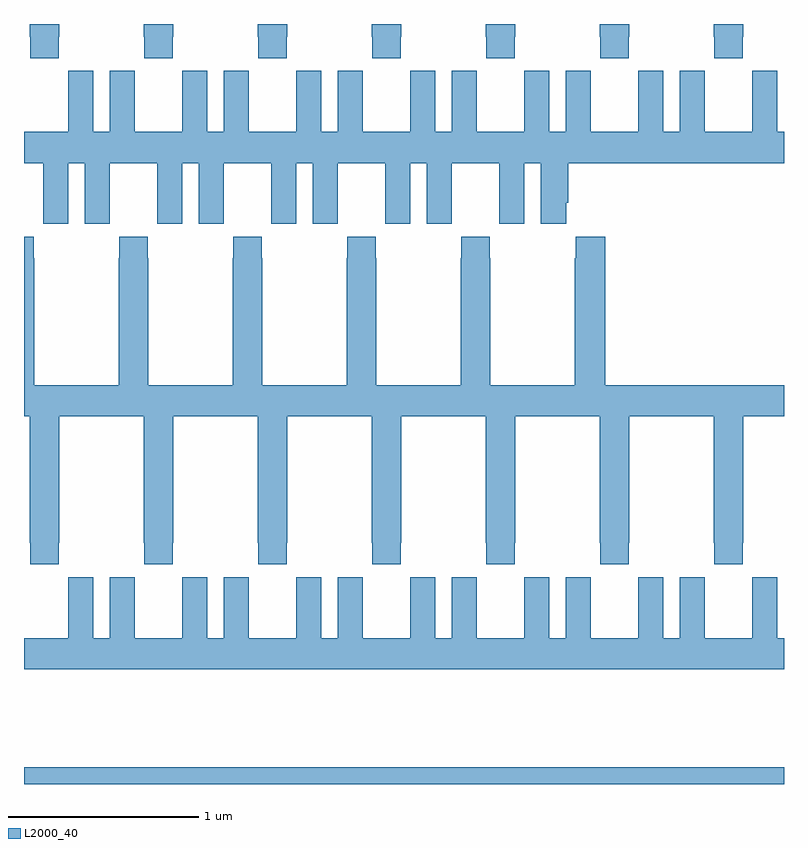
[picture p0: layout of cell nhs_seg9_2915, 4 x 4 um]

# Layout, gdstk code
import gdstk
lib = gdstk.Library(unit=1e-6, precision=1e-09)
def R(c, l, rs):  # rectangles x0, y0, x1, y1
    for r in rs: c.add(gdstk.rectangle(r[:2], r[2:], *l))
def P(c, l, *ps):  # polygons
    for p in ps: c.add(gdstk.Polygon(p, *l))
L2000_40 = (2000, 40)

nhs_seg9_2915 = lib.new_cell('nhs_seg9_2915')
R(nhs_seg9_2915, L2000_40, [(279,1178.5,283,1178.588)])
P(nhs_seg9_2915, L2000_40, [(279.183,1182.433),(279.186,1182.433),(279.186,1182.5),(279.031,1182.5),(279.031,1182.433),(279.033,1182.433),(279.033,1182.321),(279.183,1182.321)],
  [(279.783,1182.433),(279.786,1182.433),(279.786,1182.5),(279.631,1182.5),(279.631,1182.433),(279.633,1182.433),(279.633,1182.321),(279.783,1182.321)],
  [(280.383,1182.433),(280.386,1182.433),(280.386,1182.5),(280.231,1182.5),(280.231,1182.433),(280.233,1182.433),(280.233,1182.321),(280.383,1182.321)],
  [(280.983,1182.433),(280.986,1182.433),(280.986,1182.5),(280.831,1182.5),(280.831,1182.433),(280.833,1182.433),(280.833,1182.321),(280.983,1182.321)],
  [(281.583,1182.433),(281.586,1182.433),(281.586,1182.5),(281.431,1182.5),(281.431,1182.433),(281.433,1182.433),(281.433,1182.321),(281.583,1182.321)],
  [(282.183,1182.433),(282.186,1182.433),(282.186,1182.5),(282.031,1182.5),(282.031,1182.433),(282.033,1182.433),(282.033,1182.321),(282.183,1182.321)],
  [(282.783,1182.433),(282.786,1182.433),(282.786,1182.5),(282.631,1182.5),(282.631,1182.433),(282.633,1182.433),(282.633,1182.321),(282.783,1182.321)],
  [(281.12,1181.448),(281.25,1181.448),(281.25,1181.56),(281.251,1181.56),(281.251,1181.768),(281.501,1181.768),(281.501,1181.56),(281.502,1181.56),(281.502,1181.448),(281.632,1181.448),(281.632,1181.768),(281.72,1181.768),(281.72,1181.448),(281.854,1181.448),(281.854,1181.56),(281.864,1181.56),(281.864,1181.768),(283,1181.768),(283,1181.932),(282.964,1181.932),(282.964,1182.253),(282.834,1182.253),(282.834,1182.14),(282.833,1182.14),(282.833,1181.932),(282.583,1181.932),(282.583,1182.14),(282.582,1182.14),(282.582,1182.253),(282.452,1182.253),(282.452,1181.932),(282.364,1181.932),(282.364,1182.253),(282.234,1182.253),(282.234,1182.14),(282.233,1182.14),(282.233,1181.932),(281.983,1181.932),(281.983,1182.14),(281.982,1182.14),(281.982,1182.253),(281.852,1182.253),(281.852,1181.932),(281.764,1181.932),(281.764,1182.253),(281.634,1182.253),(281.634,1182.14),(281.633,1182.14),(281.633,1181.932),(281.383,1181.932),(281.383,1182.14),(281.382,1182.14),(281.382,1182.253),(281.252,1182.253),(281.252,1181.932),(281.164,1181.932),(281.164,1182.253),(281.034,1182.253),(281.034,1182.14),(281.033,1182.14),(281.033,1181.932),(280.783,1181.932),(280.783,1182.14),(280.782,1182.14),(280.782,1182.253),(280.652,1182.253),(280.652,1181.932),(280.564,1181.932),(280.564,1182.253),(280.434,1182.253),(280.434,1182.14),(280.433,1182.14),(280.433,1181.932),(280.183,1181.932),(280.183,1182.14),(280.182,1182.14),(280.182,1182.253),(280.052,1182.253),(280.052,1181.932),(279.964,1181.932),(279.964,1182.253),(279.834,1182.253),(279.834,1182.14),(279.833,1182.14),(279.833,1181.932),(279.583,1181.932),(279.583,1182.14),(279.582,1182.14),(279.582,1182.253),(279.452,1182.253),(279.452,1181.932),(279.364,1181.932),(279.364,1182.253),(279.234,1182.253),(279.234,1182.14),(279.233,1182.14),(279.233,1181.932),(279,1181.932),(279,1181.768),(279.101,1181.768),(279.101,1181.56),(279.102,1181.56),(279.102,1181.448),(279.232,1181.448),(279.232,1181.768),(279.32,1181.768),(279.32,1181.448),(279.45,1181.448),(279.45,1181.56),(279.451,1181.56),(279.451,1181.768),(279.701,1181.768),(279.701,1181.56),(279.702,1181.56),(279.702,1181.448),(279.832,1181.448),(279.832,1181.768),(279.92,1181.768),(279.92,1181.448),(280.05,1181.448),(280.05,1181.56),(280.051,1181.56),(280.051,1181.768),(280.301,1181.768),(280.301,1181.56),(280.302,1181.56),(280.302,1181.448),(280.432,1181.448),(280.432,1181.768),(280.52,1181.768),(280.52,1181.448),(280.65,1181.448),(280.65,1181.56),(280.651,1181.56),(280.651,1181.768),(280.901,1181.768),(280.901,1181.56),(280.902,1181.56),(280.902,1181.448),(281.032,1181.448),(281.032,1181.768),(281.12,1181.768)],
  [(279.183,1179.769),(279.186,1179.769),(279.186,1180.436),(279.631,1180.436),(279.631,1179.769),(279.633,1179.769),(279.633,1179.657),(279.783,1179.657),(279.783,1179.769),(279.786,1179.769),(279.786,1180.436),(280.231,1180.436),(280.231,1179.769),(280.233,1179.769),(280.233,1179.657),(280.383,1179.657),(280.383,1179.769),(280.386,1179.769),(280.386,1180.436),(280.831,1180.436),(280.831,1179.769),(280.833,1179.769),(280.833,1179.657),(280.983,1179.657),(280.983,1179.769),(280.986,1179.769),(280.986,1180.436),(281.431,1180.436),(281.431,1179.769),(281.433,1179.769),(281.433,1179.657),(281.583,1179.657),(281.583,1179.769),(281.586,1179.769),(281.586,1180.436),(282.031,1180.436),(282.031,1179.769),(282.033,1179.769),(282.033,1179.657),(282.183,1179.657),(282.183,1179.769),(282.186,1179.769),(282.186,1180.436),(282.631,1180.436),(282.631,1179.769),(282.633,1179.769),(282.633,1179.657),(282.783,1179.657),(282.783,1179.769),(282.786,1179.769),(282.786,1180.436),(283,1180.436),(283,1180.6),(282.059,1180.6),(282.059,1181.38),(281.905,1181.38),(281.905,1181.267),(281.899,1181.267),(281.899,1180.6),(281.454,1180.6),(281.454,1181.267),(281.451,1181.267),(281.451,1181.38),(281.301,1181.38),(281.301,1181.267),(281.299,1181.267),(281.299,1180.6),(280.854,1180.6),(280.854,1181.267),(280.851,1181.267),(280.851,1181.38),(280.701,1181.38),(280.701,1181.267),(280.699,1181.267),(280.699,1180.6),(280.254,1180.6),(280.254,1181.267),(280.251,1181.267),(280.251,1181.38),(280.101,1181.38),(280.101,1181.267),(280.099,1181.267),(280.099,1180.6),(279.654,1180.6),(279.654,1181.267),(279.651,1181.267),(279.651,1181.38),(279.501,1181.38),(279.501,1181.267),(279.499,1181.267),(279.499,1180.6),(279.054,1180.6),(279.054,1181.267),(279.051,1181.267),(279.051,1181.38),(279,1181.38),(279,1180.436),(279.031,1180.436),(279.031,1179.769),(279.033,1179.769),(279.033,1179.657),(279.183,1179.657)],
  [(283,1179.268),(282.964,1179.268),(282.964,1179.589),(282.834,1179.589),(282.834,1179.476),(282.833,1179.476),(282.833,1179.268),(282.583,1179.268),(282.583,1179.476),(282.582,1179.476),(282.582,1179.589),(282.452,1179.589),(282.452,1179.268),(282.364,1179.268),(282.364,1179.589),(282.234,1179.589),(282.234,1179.476),(282.233,1179.476),(282.233,1179.268),(281.983,1179.268),(281.983,1179.476),(281.982,1179.476),(281.982,1179.589),(281.852,1179.589),(281.852,1179.268),(281.764,1179.268),(281.764,1179.589),(281.634,1179.589),(281.634,1179.476),(281.633,1179.476),(281.633,1179.268),(281.383,1179.268),(281.383,1179.476),(281.382,1179.476),(281.382,1179.589),(281.252,1179.589),(281.252,1179.268),(281.164,1179.268),(281.164,1179.589),(281.034,1179.589),(281.034,1179.476),(281.033,1179.476),(281.033,1179.268),(280.783,1179.268),(280.783,1179.476),(280.782,1179.476),(280.782,1179.589),(280.652,1179.589),(280.652,1179.268),(280.564,1179.268),(280.564,1179.589),(280.434,1179.589),(280.434,1179.476),(280.433,1179.476),(280.433,1179.268),(280.183,1179.268),(280.183,1179.476),(280.182,1179.476),(280.182,1179.589),(280.052,1179.589),(280.052,1179.268),(279.964,1179.268),(279.964,1179.589),(279.834,1179.589),(279.834,1179.476),(279.833,1179.476),(279.833,1179.268),(279.583,1179.268),(279.583,1179.476),(279.582,1179.476),(279.582,1179.589),(279.452,1179.589),(279.452,1179.268),(279.364,1179.268),(279.364,1179.589),(279.234,1179.589),(279.234,1179.476),(279.233,1179.476),(279.233,1179.268),(279,1179.268),(279,1179.104),(283,1179.104)])

lib.write_gds('nhs_seg9_2915.gds')
